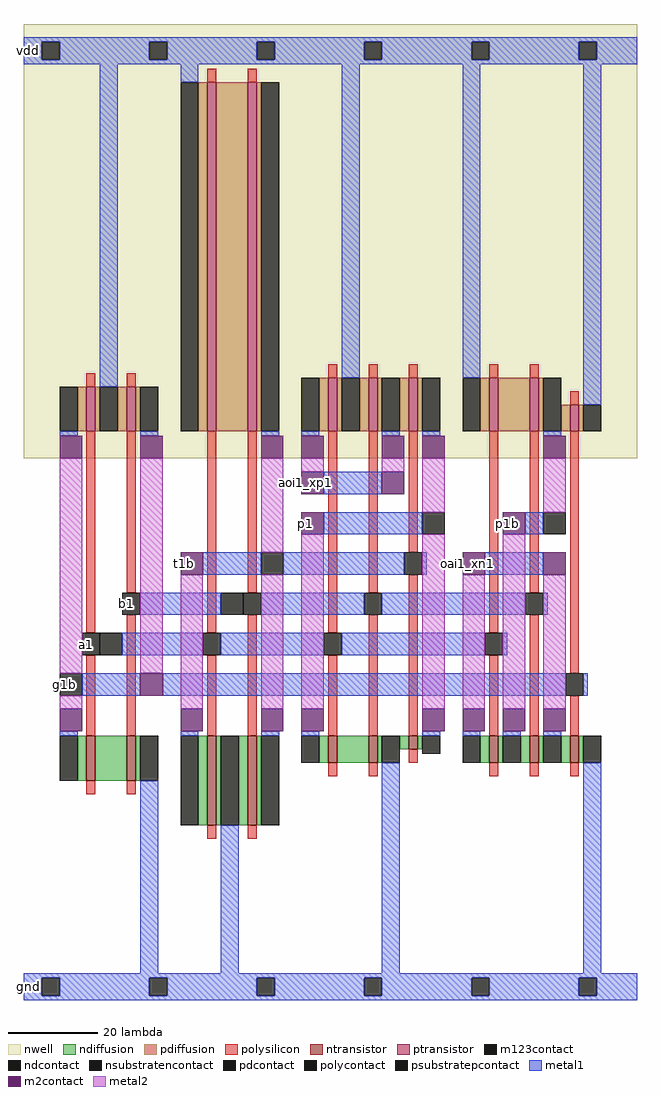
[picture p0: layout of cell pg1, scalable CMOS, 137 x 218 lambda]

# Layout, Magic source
magic
tech scmos
<< nwell >>
rect 0 121 137 218
<< ntransistor >>
rect 14 49 16 59
rect 23 49 25 59
rect 41 39 43 59
rect 50 39 52 59
rect 68 53 70 59
rect 77 53 79 59
rect 86 56 88 59
rect 104 53 106 59
rect 113 53 115 59
rect 122 53 124 59
<< ptransistor >>
rect 14 127 16 137
rect 23 127 25 137
rect 41 127 43 205
rect 50 127 52 205
rect 68 127 70 139
rect 77 127 79 139
rect 86 127 88 139
rect 104 127 106 139
rect 113 127 115 139
rect 122 127 124 133
<< ndiffusion >>
rect 12 49 14 59
rect 16 49 23 59
rect 25 49 26 59
rect 39 39 41 59
rect 43 39 44 59
rect 48 39 50 59
rect 52 39 53 59
rect 66 53 68 59
rect 70 53 77 59
rect 79 53 80 59
rect 84 56 86 59
rect 88 56 89 59
rect 102 53 104 59
rect 106 53 107 59
rect 111 53 113 59
rect 115 53 116 59
rect 120 53 122 59
rect 124 53 125 59
<< pdiffusion >>
rect 12 127 14 137
rect 16 127 17 137
rect 21 127 23 137
rect 25 127 26 137
rect 39 127 41 205
rect 43 127 50 205
rect 52 127 53 205
rect 66 127 68 139
rect 70 127 71 139
rect 75 127 77 139
rect 79 127 80 139
rect 84 127 86 139
rect 88 127 89 139
rect 102 127 104 139
rect 106 127 113 139
rect 115 127 116 139
rect 120 127 122 133
rect 124 127 125 133
<< ndcontact >>
rect 8 49 12 59
rect 26 49 30 59
rect 35 39 39 59
rect 44 39 48 59
rect 53 39 57 59
rect 62 53 66 59
rect 80 53 84 59
rect 89 55 93 59
rect 98 53 102 59
rect 107 53 111 59
rect 116 53 120 59
rect 125 53 129 59
<< pdcontact >>
rect 8 127 12 137
rect 17 127 21 137
rect 26 127 30 137
rect 35 127 39 205
rect 53 127 57 205
rect 62 127 66 139
rect 71 127 75 139
rect 80 127 84 139
rect 89 127 93 139
rect 98 127 102 139
rect 116 127 120 139
rect 125 127 129 133
<< psubstratepcontact >>
rect 4 1 8 5
rect 28 1 32 5
rect 52 1 56 5
rect 76 1 80 5
rect 100 1 104 5
rect 124 1 128 5
<< nsubstratencontact >>
rect 4 210 8 214
rect 28 210 32 214
rect 52 210 56 214
rect 76 210 80 214
rect 100 210 104 214
rect 124 210 128 214
<< polysilicon >>
rect 41 205 43 208
rect 50 205 52 208
rect 14 137 16 140
rect 23 137 25 140
rect 68 139 70 142
rect 77 139 79 142
rect 86 139 88 142
rect 104 139 106 142
rect 113 139 115 142
rect 122 133 124 136
rect 14 82 16 127
rect 23 91 25 127
rect 14 59 16 77
rect 23 59 25 86
rect 41 82 43 127
rect 50 91 52 127
rect 41 59 43 77
rect 50 59 52 86
rect 68 82 70 127
rect 77 91 79 127
rect 86 100 88 127
rect 68 59 70 77
rect 77 59 79 86
rect 86 59 88 95
rect 104 82 106 127
rect 113 91 115 127
rect 104 59 106 77
rect 113 59 115 86
rect 122 73 124 127
rect 122 59 124 68
rect 14 46 16 49
rect 23 46 25 49
rect 86 53 88 56
rect 68 50 70 53
rect 77 50 79 53
rect 104 50 106 53
rect 113 50 115 53
rect 122 50 124 53
rect 41 36 43 39
rect 50 36 52 39
<< polycontact >>
rect 22 86 26 91
rect 13 77 17 82
rect 49 86 53 91
rect 40 77 44 82
rect 85 95 89 100
rect 76 86 80 91
rect 67 77 71 82
rect 112 86 116 91
rect 103 77 107 82
rect 121 68 125 73
<< metal1 >>
rect 0 214 137 215
rect 0 210 4 214
rect 8 210 28 214
rect 32 210 52 214
rect 56 210 76 214
rect 80 210 100 214
rect 104 210 124 214
rect 128 210 137 214
rect 0 209 137 210
rect 17 137 21 209
rect 35 205 39 209
rect 71 139 75 209
rect 98 139 102 209
rect 8 126 12 127
rect 26 126 30 127
rect 53 126 57 127
rect 62 126 66 127
rect 80 126 84 127
rect 125 133 129 209
rect 89 126 93 127
rect 116 126 120 127
rect 67 113 80 118
rect 67 104 89 109
rect 112 104 116 109
rect 40 95 53 100
rect 58 95 85 100
rect 89 95 90 100
rect 103 95 116 100
rect 26 86 44 91
rect 53 86 76 91
rect 80 86 112 91
rect 116 86 117 91
rect 22 77 40 82
rect 44 77 67 82
rect 71 77 103 82
rect 107 77 108 82
rect 13 68 26 73
rect 31 68 121 73
rect 125 68 126 73
rect 8 59 12 60
rect 35 59 39 60
rect 53 59 57 60
rect 26 6 30 49
rect 62 59 66 60
rect 89 59 93 60
rect 98 59 102 60
rect 107 59 111 60
rect 116 59 120 60
rect 44 6 48 39
rect 80 6 84 53
rect 125 6 129 53
rect 0 5 137 6
rect 0 1 4 5
rect 8 1 28 5
rect 32 1 52 5
rect 56 1 76 5
rect 80 1 100 5
rect 104 1 124 5
rect 128 1 137 5
rect 0 0 137 1
<< m2contact >>
rect 8 121 13 126
rect 26 121 31 126
rect 53 121 58 126
rect 62 121 67 126
rect 80 121 85 126
rect 89 121 94 126
rect 116 121 121 126
rect 62 113 67 118
rect 80 113 85 118
rect 62 104 67 109
rect 107 104 112 109
rect 35 95 40 100
rect 98 95 103 100
rect 116 95 121 100
rect 26 68 31 73
rect 8 60 13 65
rect 35 60 40 65
rect 53 60 58 65
rect 62 60 67 65
rect 89 60 94 65
rect 98 60 103 65
rect 107 60 112 65
rect 116 60 121 65
<< metal2 >>
rect 8 73 13 121
rect 26 73 31 121
rect 53 100 58 121
rect 62 118 67 121
rect 80 118 85 121
rect 89 109 94 121
rect 116 109 121 121
rect 8 65 13 68
rect 35 65 40 95
rect 53 65 58 95
rect 62 65 67 104
rect 89 65 94 104
rect 98 65 103 95
rect 107 65 112 104
rect 116 65 121 95
<< m123contact >>
rect 17 77 22 82
rect 8 68 13 73
rect 53 95 58 100
rect 44 86 49 91
rect 89 104 94 109
rect 116 104 121 109
<< labels >>
rlabel metal1 13 77 15 82 0 a1
port 1 nsew
rlabel metal1 22 86 24 91 0 b1
port 2 nsew
rlabel metal1 8 68 10 73 0 g1b
port 3 nsew
rlabel m2contact 62 104 64 109 0 p1
port 4 nsew
rlabel m2contact 107 104 109 109 0 p1b
port 5 nsew
rlabel m2contact 35 95 37 100 0 t1b
port 6 nsew
rlabel m2contact 62 113 64 118 0 aoi1_xp1
rlabel m2contact 98 95 100 100 0 oai1_xn1
rlabel metal1 0 209 2 215 0 vdd
port 7 nsew
rlabel metal1 0 0 2 6 0 gnd
port 8 nsew
<< end >>
